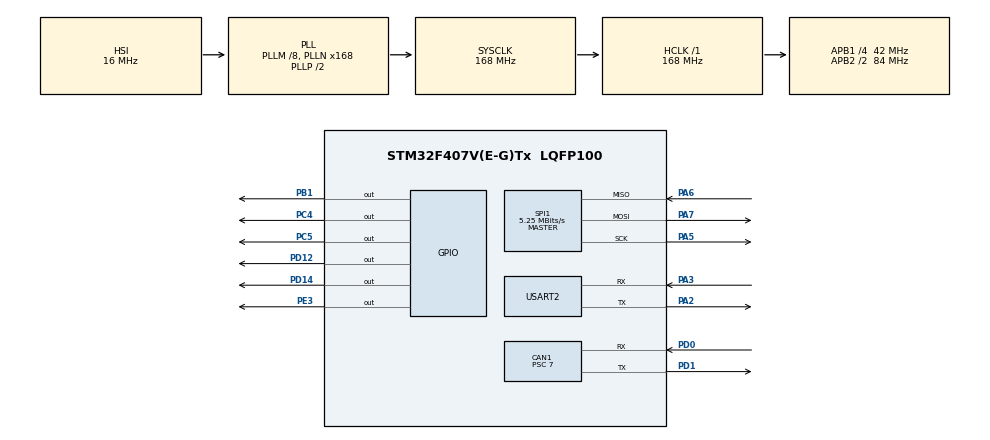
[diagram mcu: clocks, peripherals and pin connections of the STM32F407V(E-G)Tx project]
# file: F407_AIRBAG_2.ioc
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CAN1.ABOM=ENABLE
CAN1.BS1=CAN_BS1_9TQ
CAN1.BS2=CAN_BS2_2TQ
CAN1.CalculateBaudRate=499999
CAN1.CalculateTimeBit=2000
CAN1.CalculateTimeQuantum=166.66666666666669
CAN1.NART=ENABLE
CAN1.Prescaler=7
Mcu.Family=STM32F4
Mcu.Name=STM32F407V(E-G)Tx
Mcu.Package=LQFP100
NVIC.PriorityGroup=NVIC_PRIORITYGROUP_0
PA13.Mode=Serial_Wire
PA13.Signal=SYS_JTMS-SWDIO
PA14.Mode=Serial_Wire
PA14.Signal=SYS_JTCK-SWCLK
PA2.Mode=Asynchronous
PA2.Signal=USART2_TX
PA3.Mode=Asynchronous
PA3.Signal=USART2_RX
PA5.Mode=Full_Duplex_Master
PA5.Signal=SPI1_SCK
PA6.Mode=Full_Duplex_Master
PA6.Signal=SPI1_MISO
PA7.Mode=Full_Duplex_Master
PA7.Signal=SPI1_MOSI
PB1.GPIO_PuPd=GPIO_PULLUP
PB1.PinState=GPIO_PIN_SET
PB1.Signal=GPIO_Output
PC4.Signal=GPIO_Output
PC5.GPIO_PuPd=GPIO_PULLUP
PC5.Signal=GPIO_Output
PD0.Mode=CAN_Activate
PD0.Signal=CAN1_RX
PD1.Mode=CAN_Activate
PD1.Signal=CAN1_TX
PD12.Signal=GPIO_Output
PD14.Signal=GPIO_Output
PE3.Signal=GPIO_Output
PH0-OSC_IN.Mode=HSE-External-Oscillator
PH0-OSC_IN.Signal=RCC_OSC_IN
PH1-OSC_OUT.Mode=HSE-External-Oscillator
PH1-OSC_OUT.Signal=RCC_OSC_OUT
ProjectManager.HeapSize=0x200
ProjectManager.StackSize=0x400
ProjectManager.TargetToolchain=STM32CubeIDE
RCC.48MHZClocksFreq_Value=48000000
RCC.AHBFreq_Value=168000000
RCC.APB1CLKDivider=RCC_HCLK_DIV4
RCC.APB1Freq_Value=42000000
RCC.APB1TimFreq_Value=84000000
RCC.APB2CLKDivider=RCC_HCLK_DIV2
RCC.APB2Freq_Value=84000000
RCC.APB2TimFreq_Value=168000000
RCC.CortexFreq_Value=168000000
RCC.HCLKFreq_Value=168000000
RCC.HSE_VALUE=8000000
RCC.HSI_VALUE=16000000
RCC.LSE_VALUE=32768
RCC.PLLM=8
RCC.PLLN=168
RCC.PLLQ=7
RCC.SYSCLKFreq_VALUE=168000000
RCC.SYSCLKSource=RCC_SYSCLKSOURCE_PLLCLK
RCC.VCOOutputFreq_Value=336000000
SPI1.BaudRatePrescaler=SPI_BAUDRATEPRESCALER_16
SPI1.CalculateBaudRate=5.25 MBits/s
SPI1.Direction=SPI_DIRECTION_2LINES
SPI1.Mode=SPI_MODE_MASTER
SPI1.VirtualType=VM_MASTER
USART2.VirtualMode=VM_ASYNC
board=STM32F407G-DISC1

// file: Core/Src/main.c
/* USER CODE BEGIN Header */
/**
  ******************************************************************************
  * @file           : main.c
  * @brief          : AIRBAG Node - TX only
  ******************************************************************************
  */
/* USER CODE END Header */
#include "main.h"

/* USER CODE BEGIN Includes */
#include <stdarg.h>
#include <stdio.h>
#include <string.h>
#include <stdbool.h>
/* USER CODE END Includes */

CAN_HandleTypeDef hcan1;

SPI_HandleTypeDef hspi1;

UART_HandleTypeDef huart2;

/* USER CODE BEGIN PV */
#define CS_ENABLE()  HAL_GPIO_WritePin(GPIOE, GPIO_PIN_3, GPIO_PIN_RESET)
#define CS_DISABLE() HAL_GPIO_WritePin(GPIOE, GPIO_PIN_3, GPIO_PIN_SET)
extern SPI_HandleTypeDef hspi1;

typedef struct {
    int16_t x;
    int16_t y;
    int16_t z;
} Acceleration_t;

Acceleration_t accel_data;

float x_mg = 0.0f;
float y_mg = 0.0f;
float z_mg = 0.0f;
float total_force = 0.0f;

volatile uint8_t data_ready_flag = 0;
volatile uint8_t deploy_flag = 0;

#define CAN_ID_AIRBAG_TO_MAIN    0x122U
#define LIS3DSH_CTRL_REG4        0x20u
#define LIS3DSH_CTRL_REG4_CFG    0x67u
#define LIS3DSH_CTRL_REG5        0x23u
#define LIS3DSH_CTRL_REG5_CFG    0xC8u

#define LIS3DSH_OUT_X_L          0x28u
#define LIS3DSH_OUT_X_H          0x29u
#define LIS3DSH_OUT_Y_L          0x2Au
#define LIS3DSH_OUT_Y_H          0x2Bu
#define LIS3DSH_OUT_Z_L          0x2Cu
#define LIS3DSH_OUT_Z_H          0x2Du

#define ACCEL_SCALE_FACTOR       0.06f
#define FORCE_THRESHOLD          6250000.0f //2500mg ^ 2

#define UART_PRINT_TIMEOUT_MS    100U

static char buff[128];

CAN_TxHeaderTypeDef TxHeader;
uint32_t TxMailbox;
uint8_t TxData[8] = {0u};

//Airbag data
uint8_t airbag1 = 0u;
uint8_t airbag2 = 0u;
uint8_t airbag3 = 0u;

uint8_t airbag_to_main_cnt = 0u;
/* USER CODE END PV */

void SystemClock_Config(void);
static void MX_GPIO_Init(void);
static void MX_CAN1_Init(void);
static void MX_SPI1_Init(void);
static void MX_USART2_UART_Init(void);
/* USER CODE BEGIN PFP */
void mPrint(const char *format, ...);
void Send_Data_To_MAIN(void);
void Print_AIRBAG_TX(void);

#ifdef __GNUC__
#define PUTCHAR_PROTOTYPE int __io_putchar(int ch)
#else
#define PUTCHAR_PROTOTYPE int fputc(int ch, FILE *f)
#endif

PUTCHAR_PROTOTYPE
{
  extern UART_HandleTypeDef huart2;
  HAL_UART_Transmit(&huart2, (uint8_t *)&ch, 1, HAL_MAX_DELAY);
  return ch;
}
/* USER CODE END PFP */

/* USER CODE BEGIN 0 */
void mPrint(const char * format, ...)
{
    va_list args;
    int32_t len;

    (void)memset((void *)buff, 0, sizeof(buff));

    va_start(args, format);
    len = (int32_t)vsnprintf(buff, sizeof(buff), format, args);
    va_end(args);

    if (len > 0)
    {
        uint16_t tx_len;

        if (len >= (int32_t)sizeof(buff))
        {
            tx_len = (uint16_t)(sizeof(buff) - 1U);
        }
        else
        {
            tx_len = (uint16_t)len;
        }

        (void)HAL_UART_Transmit(&huart2, (uint8_t *)buff, tx_len, UART_PRINT_TIMEOUT_MS);
    }
    else
    {

    }
}

void Print_AIRBAG_TX(void)
{
    mPrint("[AIRBAG TX] ID=0x122 | AB1=%u | AB2=%u | AB3=%u | CNT=%u | RAW=%02X %02X %02X\r\n",
           TxData[0], TxData[1], TxData[2], airbag_to_main_cnt,
           TxData[0], TxData[1], TxData[2]);
}

void Send_Data_To_MAIN(void)
{
	HAL_StatusTypeDef tx_status;

    TxHeader.StdId = CAN_ID_AIRBAG_TO_MAIN;   // 0x122
    TxHeader.ExtId = 0u;
    TxHeader.IDE   = CAN_ID_STD;
    TxHeader.RTR   = CAN_RTR_DATA;
    TxHeader.DLC   = 1u;
    TxHeader.TransmitGlobalTime = DISABLE;

    TxData[0] = deploy_flag;   //

    if (HAL_CAN_GetTxMailboxesFreeLevel(&hcan1) > 0u)
    {
        tx_status = HAL_CAN_AddTxMessage(&hcan1, &TxHeader, TxData, &TxMailbox);

        if (tx_status == HAL_OK)
        {
            airbag_to_main_cnt++;
            Print_AIRBAG_TX();
        }
        else
        {
            mPrint("[AIRBAG TX] FAIL | err=0x%08lX | free=%lu\r\n",
                   HAL_CAN_GetError(&hcan1),
                   HAL_CAN_GetTxMailboxesFreeLevel(&hcan1));
        }
    }
    else
    {
        mPrint("[ERROR] CAN is unsync\r\n");
        (void)HAL_CAN_AbortTxRequest(&hcan1,
                                     CAN_TX_MAILBOX0 | CAN_TX_MAILBOX1 | CAN_TX_MAILBOX2);
    }
}

static void MEMS_WriteReg(uint8_t regAddr, uint8_t data) {
    uint8_t spiData[2];
    spiData[0] = regAddr & 0x7Fu; //write
    spiData[1] = data;

    CS_ENABLE();
    HAL_SPI_Transmit(&hspi1, spiData, 2u, HAL_MAX_DELAY);//send 2 bytes
    CS_DISABLE();
}

uint8_t MEMS_ReadReg(uint8_t regAddr) {
    uint8_t txData = regAddr | 0x80u; //read
    uint8_t rxData = 0u;

    CS_ENABLE();
    HAL_SPI_Transmit(&hspi1, &txData, 1, HAL_MAX_DELAY);
    HAL_SPI_Receive(&hspi1, &rxData, 1, HAL_MAX_DELAY);
    CS_DISABLE();

    return rxData;
}

static void LIS3DSH_Init(void) {

    MEMS_WriteReg(LIS3DSH_CTRL_REG4, LIS3DSH_CTRL_REG4_CFG);//0110 0111

    MEMS_WriteReg(LIS3DSH_CTRL_REG5, LIS3DSH_CTRL_REG5_CFG);//1100 1000
}

static void LIS3DSH_ReadAccel(Acceleration_t *accel) {
    uint8_t x_l, x_h, y_l, y_h, z_l, z_h;

    x_l = MEMS_ReadReg(LIS3DSH_OUT_X_L); //OUT_X_L
    x_h = MEMS_ReadReg(LIS3DSH_OUT_X_H); //OUT_X_H

    y_l = MEMS_ReadReg(LIS3DSH_OUT_Y_L); //OUT_Y_L
    y_h = MEMS_ReadReg(LIS3DSH_OUT_Y_H); //OUT_Y_H

    z_l = MEMS_ReadReg(LIS3DSH_OUT_Z_L); //OUT_Z_L
    z_h = MEMS_ReadReg(LIS3DSH_OUT_Z_H); //OUT_Z_H

    //shift 8 bits of the high reg to left then put the low reg in
    accel->x = (int16_t)((x_h << 8) | x_l);
    accel->y = (int16_t)((y_h << 8) | y_l);
    accel->z = (int16_t)((z_h << 8) | z_l);
}

static void CAN_Filter_Config(void) {
    CAN_FilterTypeDef canfilterconfig;
    canfilterconfig.FilterActivation = CAN_FILTER_ENABLE;
    canfilterconfig.FilterBank = 0u;
    canfilterconfig.FilterFIFOAssignment = CAN_RX_FIFO0;
    canfilterconfig.FilterIdHigh = 0u;
    canfilterconfig.FilterIdLow = 0u;
    canfilterconfig.FilterMaskIdHigh = 0u;
    canfilterconfig.FilterMaskIdLow = 0u;
    canfilterconfig.FilterMode = CAN_FILTERMODE_IDMASK;
    canfilterconfig.FilterScale = CAN_FILTERSCALE_32BIT;
    HAL_CAN_ConfigFilter(&hcan1, &canfilterconfig);
}
/* USER CODE END 0 */

int main(void)
{

  /* MCU Configuration--------------------------------------------------------*/

  /* Reset of all peripherals, Initializes the Flash interface and the Systick. */
  HAL_Init();

  /* Configure the system clock */
  SystemClock_Config();

  /* Initialize all configured peripherals */
  MX_GPIO_Init();
  MX_CAN1_Init();
  MX_SPI1_Init();
  MX_USART2_UART_Init();
  /* USER CODE BEGIN 2 */
  LIS3DSH_Init();

  CAN_Filter_Config();
  HAL_CAN_Start(&hcan1);

  TxHeader.StdId = 0x110;
  TxHeader.IDE = CAN_ID_STD;
  TxHeader.RTR = CAN_RTR_DATA;
  TxHeader.DLC = 1;
  TxHeader.TransmitGlobalTime = DISABLE;

  mPrint("\r\nAIRBAG NODE INIT OK\r\n");
  mPrint("\r\n=============================\r\n");
  mPrint("BOOT OK\r\n");
  mPrint("UART2 OK\r\n");

  if (HAL_CAN_Start(&hcan1) != HAL_OK)
  {
      mPrint("CAN Start FAIL\r\n");
  }
  else
  {
      mPrint("CAN Start OK\r\n");
  }

  mPrint("AIRBAG NODE READY | TX:0x122\r\n");
  mPrint("=============================\r\n\r\n");
  /* USER CODE END 2 */

  /* Infinite loop */
  /* USER CODE BEGIN WHILE */
  static uint32_t last_main_loop_time = 0U;

  static uint32_t btn_debounce_time = 0U;
  static uint8_t btn_fsm_state = 0U; // 0: IDLE, 1: DEBOUNCE, 2: WAIT_RELEASE

  while (1)
  {

	  uint32_t current_time = HAL_GetTick();

	  GPIO_PinState btn_pin_status = HAL_GPIO_ReadPin(GPIOA, GPIO_PIN_0);
	  switch (btn_fsm_state)
	  {
	  case 0U: //IDLE
		  if (btn_pin_status == GPIO_PIN_SET)
		  {
			  btn_debounce_time = current_time; //update time
			  btn_fsm_state = 1U;               //sang debounce de kiem tra tg de nut
		  }
		  break;

	  case 1U: //debounce >50ms
		  if (btn_pin_status == GPIO_PIN_SET)
		  {
			  if ((current_time - btn_debounce_time) >= 50U)
			  {
				  deploy_flag = 0U;
//				  if (deploy_flag == 0U)
//				  {
//					  deploy_flag = 1U;
//					  mPrint("[AIRBAG] Kich hoat khan cap bang nut nhan (Test Mode).\r\n");
//				  }
//				  else
//				  {
//					  deploy_flag = 0U;
//					  mPrint("[AIRBAG] He thong da duoc reset ve trang thai an toan.\r\n");
//				  }
				  btn_fsm_state = 2U;
			  }
		  }
		  else
		  {
			  btn_fsm_state = 0U; //truong hop nhieu
		  }
		  break;

	  case 2U: //WAIT_RELEASE
		  if (btn_pin_status == GPIO_PIN_RESET)
		  {
			  btn_fsm_state = 0U; //back to IDLE
		  }
		  break;

	  default:
		  btn_fsm_state = 0U; //default IDLE
		  break;
	  }

	  //airbag_deploymment
	  if ((current_time - last_main_loop_time) >= 10U)
	        {
	            //update time period
	            last_main_loop_time = current_time;

	            if (deploy_flag == 0U)
	            {
	                LIS3DSH_ReadAccel(&accel_data);

	                x_mg = accel_data.x * ACCEL_SCALE_FACTOR; //factor = 0.06
	                y_mg = accel_data.y * ACCEL_SCALE_FACTOR;
	                z_mg = accel_data.z * ACCEL_SCALE_FACTOR;
	                total_force = (x_mg * x_mg) + (y_mg * y_mg) + (z_mg * z_mg);

	                if (total_force > FORCE_THRESHOLD)//6250000 = 2500mg ^ 2
	                {
	                    deploy_flag = 1U;
	                    TxData[0] = deploy_flag;
	                    HAL_CAN_AddTxMessage(&hcan1, &TxHeader, TxData, &TxMailbox);
	                    mPrint("[COLLISION DETECTED]");
	                }
	            }
	            //deployed
	            if (deploy_flag == 1U)
	            {
	                HAL_GPIO_WritePin(GPIOC, GPIO_PIN_4, GPIO_PIN_SET);
	                HAL_GPIO_WritePin(GPIOB, GPIO_PIN_1, GPIO_PIN_SET);
	                HAL_GPIO_WritePin(GPIOC, GPIO_PIN_5, GPIO_PIN_SET);
	                HAL_GPIO_WritePin(GPIOD, GPIO_PIN_14, GPIO_PIN_SET);
	                HAL_GPIO_WritePin(GPIOD, GPIO_PIN_12, GPIO_PIN_RESET);
	            }
	            else
	            {
	                HAL_GPIO_WritePin(GPIOC, GPIO_PIN_4, GPIO_PIN_RESET);
	                HAL_GPIO_WritePin(GPIOB, GPIO_PIN_1, GPIO_PIN_RESET);
	                HAL_GPIO_WritePin(GPIOC, GPIO_PIN_5, GPIO_PIN_RESET);
	                HAL_GPIO_WritePin(GPIOD, GPIO_PIN_14, GPIO_PIN_RESET);
	                HAL_GPIO_WritePin(GPIOD, GPIO_PIN_12, GPIO_PIN_SET);
	            }

	            Send_Data_To_MAIN();
	        }
    /* USER CODE END WHILE */

  }
}

void SystemClock_Config(void)
{
  RCC_OscInitTypeDef RCC_OscInitStruct = {0};
  RCC_ClkInitTypeDef RCC_ClkInitStruct = {0};

  /** Configure the main internal regulator output voltage
  */
  __HAL_RCC_PWR_CLK_ENABLE();
  __HAL_PWR_VOLTAGESCALING_CONFIG(PWR_REGULATOR_VOLTAGE_SCALE1);

  /** Initializes the RCC Oscillators according to the specified parameters
  * in the RCC_OscInitTypeDef structure.
  */
  RCC_OscInitStruct.OscillatorType = RCC_OSCILLATORTYPE_HSI;
  RCC_OscInitStruct.HSIState = RCC_HSI_ON;
  RCC_OscInitStruct.HSICalibrationValue = RCC_HSICALIBRATION_DEFAULT;
  RCC_OscInitStruct.PLL.PLLState = RCC_PLL_ON;
  RCC_OscInitStruct.PLL.PLLSource = RCC_PLLSOURCE_HSI;
  RCC_OscInitStruct.PLL.PLLM = 8;
  RCC_OscInitStruct.PLL.PLLN = 168;
  RCC_OscInitStruct.PLL.PLLP = RCC_PLLP_DIV2;
  RCC_OscInitStruct.PLL.PLLQ = 7;
  if (HAL_RCC_OscConfig(&RCC_OscInitStruct) != HAL_OK)
  {
    Error_Handler();
  }

  /** Initializes the CPU, AHB and APB buses clocks
  */
  RCC_ClkInitStruct.ClockType = RCC_CLOCKTYPE_HCLK|RCC_CLOCKTYPE_SYSCLK
                              |RCC_CLOCKTYPE_PCLK1|RCC_CLOCKTYPE_PCLK2;
  RCC_ClkInitStruct.SYSCLKSource = RCC_SYSCLKSOURCE_PLLCLK;
  RCC_ClkInitStruct.AHBCLKDivider = RCC_SYSCLK_DIV1;
  RCC_ClkInitStruct.APB1CLKDivider = RCC_HCLK_DIV4;
  RCC_ClkInitStruct.APB2CLKDivider = RCC_HCLK_DIV2;

  if (HAL_RCC_ClockConfig(&RCC_ClkInitStruct, FLASH_LATENCY_5) != HAL_OK)
  {
    Error_Handler();
  }
}

static void MX_CAN1_Init(void)
{

  hcan1.Instance = CAN1;
  hcan1.Init.Prescaler = 7;
  hcan1.Init.Mode = CAN_MODE_NORMAL;
  hcan1.Init.SyncJumpWidth = CAN_SJW_1TQ;
  hcan1.Init.TimeSeg1 = CAN_BS1_9TQ;
  hcan1.Init.TimeSeg2 = CAN_BS2_2TQ;
  hcan1.Init.TimeTriggeredMode = DISABLE;
  hcan1.Init.AutoBusOff = ENABLE;
  hcan1.Init.AutoWakeUp = DISABLE;
  hcan1.Init.AutoRetransmission = ENABLE;
  hcan1.Init.ReceiveFifoLocked = DISABLE;
  hcan1.Init.TransmitFifoPriority = DISABLE;
  if (HAL_CAN_Init(&hcan1) != HAL_OK)
  {
    Error_Handler();
  }

}

static void MX_SPI1_Init(void)
{

  /* SPI1 parameter configuration*/
  hspi1.Instance = SPI1;
  hspi1.Init.Mode = SPI_MODE_MASTER;
  hspi1.Init.Direction = SPI_DIRECTION_2LINES;
  hspi1.Init.DataSize = SPI_DATASIZE_8BIT;
  hspi1.Init.CLKPolarity = SPI_POLARITY_LOW;
  hspi1.Init.CLKPhase = SPI_PHASE_1EDGE;
  hspi1.Init.NSS = SPI_NSS_SOFT;
  hspi1.Init.BaudRatePrescaler = SPI_BAUDRATEPRESCALER_16;
  hspi1.Init.FirstBit = SPI_FIRSTBIT_MSB;
  hspi1.Init.TIMode = SPI_TIMODE_DISABLE;
  hspi1.Init.CRCCalculation = SPI_CRCCALCULATION_DISABLE;
  hspi1.Init.CRCPolynomial = 10;
  if (HAL_SPI_Init(&hspi1) != HAL_OK)
  {
    Error_Handler();
  }

}

static void MX_USART2_UART_Init(void)
{

  huart2.Instance = USART2;
  huart2.Init.BaudRate = 115200;
  huart2.Init.WordLength = UART_WORDLENGTH_8B;
  huart2.Init.StopBits = UART_STOPBITS_1;
  huart2.Init.Parity = UART_PARITY_NONE;
  huart2.Init.Mode = UART_MODE_TX_RX;
  huart2.Init.HwFlowCtl = UART_HWCONTROL_NONE;
  huart2.Init.OverSampling = UART_OVERSAMPLING_16;
  if (HAL_UART_Init(&huart2) != HAL_OK)
  {
    Error_Handler();
  }

}

static void MX_GPIO_Init(void)
{
  GPIO_InitTypeDef GPIO_InitStruct = {0};

  /* GPIO Ports Clock Enable */
  __HAL_RCC_GPIOE_CLK_ENABLE();
  __HAL_RCC_GPIOH_CLK_ENABLE();
  __HAL_RCC_GPIOA_CLK_ENABLE();
  __HAL_RCC_GPIOC_CLK_ENABLE();
  __HAL_RCC_GPIOB_CLK_ENABLE();
  __HAL_RCC_GPIOD_CLK_ENABLE();

  /*Configure GPIO pin Output Level */
  HAL_GPIO_WritePin(GPIOE, GPIO_PIN_3, GPIO_PIN_RESET);

  /*Configure GPIO pin Output Level */
  HAL_GPIO_WritePin(GPIOC, GPIO_PIN_4|GPIO_PIN_5, GPIO_PIN_RESET);

  /*Configure GPIO pin Output Level */
  HAL_GPIO_WritePin(GPIOB, GPIO_PIN_1, GPIO_PIN_RESET);

  /*Configure GPIO pin Output Level */
  HAL_GPIO_WritePin(GPIOD, GPIO_PIN_12|GPIO_PIN_14, GPIO_PIN_RESET);

  /*Configure GPIO pin : PE3 */
  GPIO_InitStruct.Pin = GPIO_PIN_3;
  GPIO_InitStruct.Mode = GPIO_MODE_OUTPUT_PP;
  GPIO_InitStruct.Pull = GPIO_NOPULL;
  GPIO_InitStruct.Speed = GPIO_SPEED_FREQ_LOW;
  HAL_GPIO_Init(GPIOE, &GPIO_InitStruct);

  /*Configure GPIO pin : PC4 */
  GPIO_InitStruct.Pin = GPIO_PIN_4;
  GPIO_InitStruct.Mode = GPIO_MODE_OUTPUT_PP;
  GPIO_InitStruct.Pull = GPIO_NOPULL;
  GPIO_InitStruct.Speed = GPIO_SPEED_FREQ_LOW;
  HAL_GPIO_Init(GPIOC, &GPIO_InitStruct);

  /*Configure GPIO pin : PC5 */
  GPIO_InitStruct.Pin = GPIO_PIN_5;
  GPIO_InitStruct.Mode = GPIO_MODE_OUTPUT_PP;
  GPIO_InitStruct.Pull = GPIO_PULLUP;
  GPIO_InitStruct.Speed = GPIO_SPEED_FREQ_LOW;
  HAL_GPIO_Init(GPIOC, &GPIO_InitStruct);

  /*Configure GPIO pin : PB1 */
  GPIO_InitStruct.Pin = GPIO_PIN_1;
  GPIO_InitStruct.Mode = GPIO_MODE_OUTPUT_PP;
  GPIO_InitStruct.Pull = GPIO_NOPULL;
  GPIO_InitStruct.Speed = GPIO_SPEED_FREQ_LOW;
  HAL_GPIO_Init(GPIOB, &GPIO_InitStruct);

  /*Configure GPIO pins : PD12 PD14 */
  GPIO_InitStruct.Pin = GPIO_PIN_12|GPIO_PIN_14;
  GPIO_InitStruct.Mode = GPIO_MODE_OUTPUT_PP;
  GPIO_InitStruct.Pull = GPIO_NOPULL;
  GPIO_InitStruct.Speed = GPIO_SPEED_FREQ_LOW;
  HAL_GPIO_Init(GPIOD, &GPIO_InitStruct);

}

void Error_Handler(void)
{
  __disable_irq();
  while (1)
  {
  }
}
